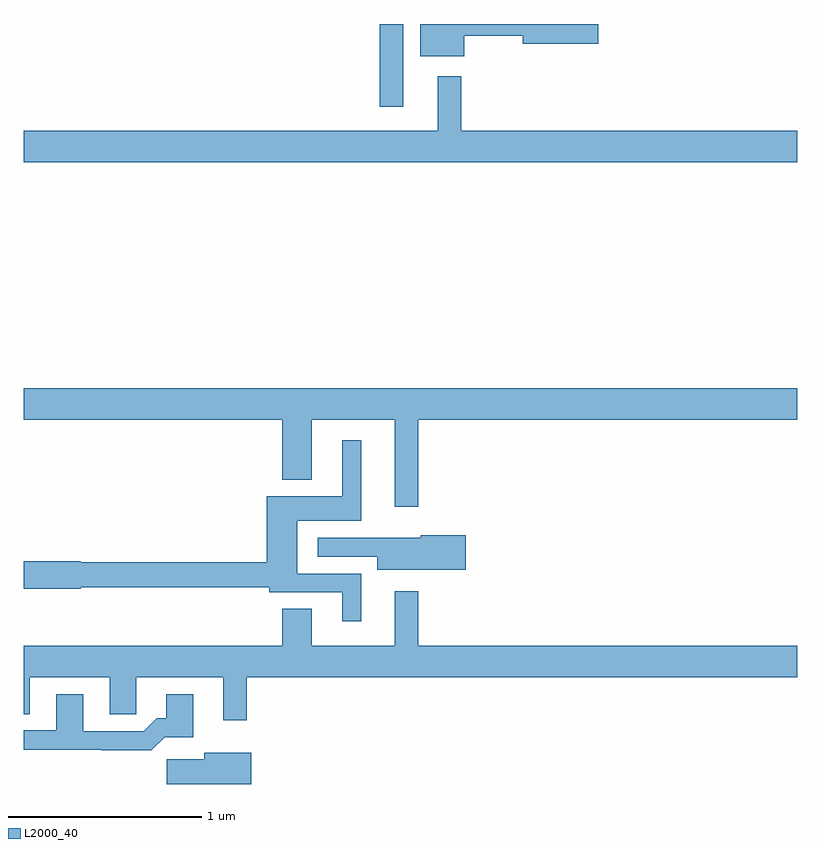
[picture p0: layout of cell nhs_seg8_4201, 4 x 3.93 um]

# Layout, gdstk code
import gdstk
lib = gdstk.Library(unit=1e-6, precision=1e-09)
def R(c, l, rs):  # rectangles x0, y0, x1, y1
    for r in rs: c.add(gdstk.rectangle(r[:2], r[2:], *l))
def P(c, l, *ps):  # polygons
    for p in ps: c.add(gdstk.Polygon(p, *l))
L2000_40 = (2000, 40)

nhs_seg8_4201 = lib.new_cell('nhs_seg8_4201')
R(nhs_seg8_4201, L2000_40, [(370.842,1099.473,370.963,1099.9)])
P(nhs_seg8_4201, L2000_40, [(371.278,1099.84),(371.582,1099.84),(371.582,1099.798),(371.971,1099.798),(371.971,1099.9),(371.051,1099.9),(371.051,1099.733),(371.278,1099.733)],
  [(373,1099.348),(371.263,1099.348),(371.263,1099.63),(371.141,1099.63),(371.141,1099.348),(369,1099.348),(369,1099.184),(373,1099.184)],
  [(371.041,1097.852),(373,1097.852),(373,1098.016),(369,1098.016),(369,1097.852),(370.337,1097.852),(370.337,1097.543),(370.489,1097.543),(370.489,1097.852),(370.919,1097.852),(370.919,1097.403),(371.041,1097.403)],
  [(370.744,1097.055),(370.414,1097.055),(370.414,1097.33),(370.744,1097.33),(370.744,1097.746),(370.646,1097.746),(370.646,1097.458),(370.256,1097.458),(370.256,1097.114),(369.294,1097.114),(369.294,1097.12),(369,1097.12),(369,1096.978),(369.294,1096.978),(369.294,1096.986),(370.268,1096.986),(370.268,1096.959),(370.646,1096.959),(370.646,1096.809),(370.744,1096.809)],
  [(371.287,1097.255),(371.052,1097.255),(371.052,1097.242),(370.833,1097.242),(370.833,1097.241),(370.521,1097.241),(370.521,1097.145),(370.829,1097.145),(370.829,1097.077),(371.287,1097.077)],
  [(370.153,1096.52),(373,1096.52),(373,1096.684),(371.041,1096.684),(371.041,1096.966),(370.919,1096.966),(370.919,1096.684),(370.489,1096.684),(370.489,1096.874),(370.337,1096.874),(370.337,1096.684),(369,1096.684),(369,1096.33),(369.031,1096.33),(369.031,1096.52),(369.443,1096.52),(369.443,1096.33),(369.582,1096.33),(369.582,1096.52),(370.031,1096.52),(370.031,1096.299),(370.153,1096.299)],
  [(369.728,1096.211),(369.877,1096.211),(369.877,1096.432),(369.737,1096.432),(369.737,1096.309),(369.688,1096.309),(369.621,1096.242),(369.307,1096.242),(369.307,1096.432),(369.167,1096.432),(369.167,1096.245),(369,1096.245),(369,1096.144),(369.403,1096.144),(369.403,1096.142),(369.659,1096.142)],
  [(370.177,1096.129),(369.932,1096.129),(369.932,1096.097),(369.738,1096.097),(369.738,1095.968),(370.177,1095.968)])

lib.write_gds('nhs_seg8_4201.gds')
